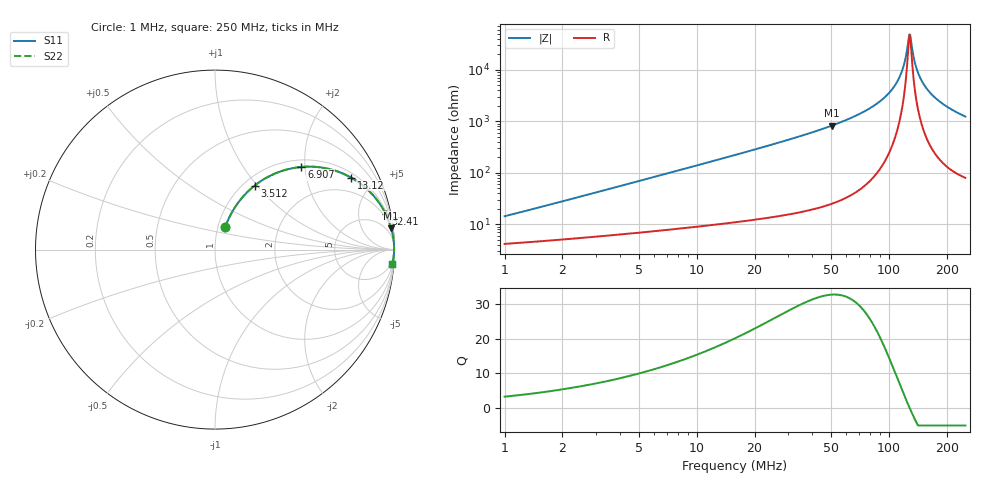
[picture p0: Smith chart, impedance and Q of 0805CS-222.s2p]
# MHz S MA R 50
!Freq  MagS11  AngS11  MagS21  AngS21  MagS12  AngS12  MagS22  AngS22
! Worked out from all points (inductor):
!   801 points, 1 MHz to 250 MHz, reference 50 ohm
!   read as one part in series: L = 2.2 uH near 1.028 MHz
!   highest Q = 32.7 at 50.41 MHz (marker M1), where L = 2.6 uH
!   self-resonance near 128 MHz
!   S11 on the Smith chart (normalised r, x): 1 MHz: 1.08, +0.28; 3.512 MHz: 1.12, +0.97; 6.907 MHz: 1.16, +1.91; 13.12 MHz: 1.20, +3.67; 32.41 MHz: 1.33, +9.57; 250 MHz: 3, -25
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1  0.1375 65.5  0.9514 -7.6  0.9514 -7.6  0.1375 65.5
2.521477  0.3177 62.8  0.9 -18.3  0.9 -18.3  0.3177 62.8
3.511813  0.4195 58.2  0.8568 -24.6  0.8568 -24.6  0.4195 58.2
6.314115  0.6334 45.9  0.7213 -39.1  0.7213 -39.1  0.6334 45.9
6.906834  0.6662 43.7  0.6935 -41.6  0.6935 -41.6  0.6662 43.7
13.12319  0.8585 27.8  0.4676 -59.0  0.4676 -59.0  0.8585 27.8
15.92089  0.8966 23.6  0.4007 -63.6  0.4007 -63.6  0.8966 23.6
32.41173  0.9722 11.7  0.203 -76.3  0.203 -76.3  0.9722 11.7
39.86805  0.9819 9.3  0.1609 -78.9  0.1609 -78.9  0.9819 9.3
50.4124  0.9891 6.9  0.12 -81.4  0.12 -81.4  0.9891 6.9
76.80338  0.996 3.4  0.06018 -84.4  0.06018 -84.4  0.996 3.4
99.83492  0.9977 1.6  0.02854 -84.5  0.02854 -84.5  0.9977 1.6
115.406  0.998 0.7  0.01207 -80.0  0.01207 -80.0  0.998 0.7
120.2854  0.998 0.4  0.007503 -74.2  0.007503 -74.2  0.998 0.4
126.2394  0.998 0.1  0.002717 -41.2  0.002717 -41.2  0.998 0.1
127.9941  0.9979 0.0  0.002072 -6.7  0.002072 -6.7  0.9979 0.0
130.6719  0.9979 -0.1  0.002951 44.9  0.002951 44.9  0.9979 -0.1
136.1967  0.9978 -0.4  0.007082 71.9  0.007082 71.9  0.9978 -0.4
140.9788  0.9977 -0.6  0.01087 77.6  0.01087 77.6  0.9977 -0.6
156.3562  0.9973 -1.3  0.02253 82.4  0.02253 82.4  0.9973 -1.3
189.6894  0.9957 -2.6  0.04512 83.3  0.04512 83.3  0.9957 -2.6
250  0.9916 -4.6  0.08028 81.7  0.08028 81.7  0.9916 -4.6
